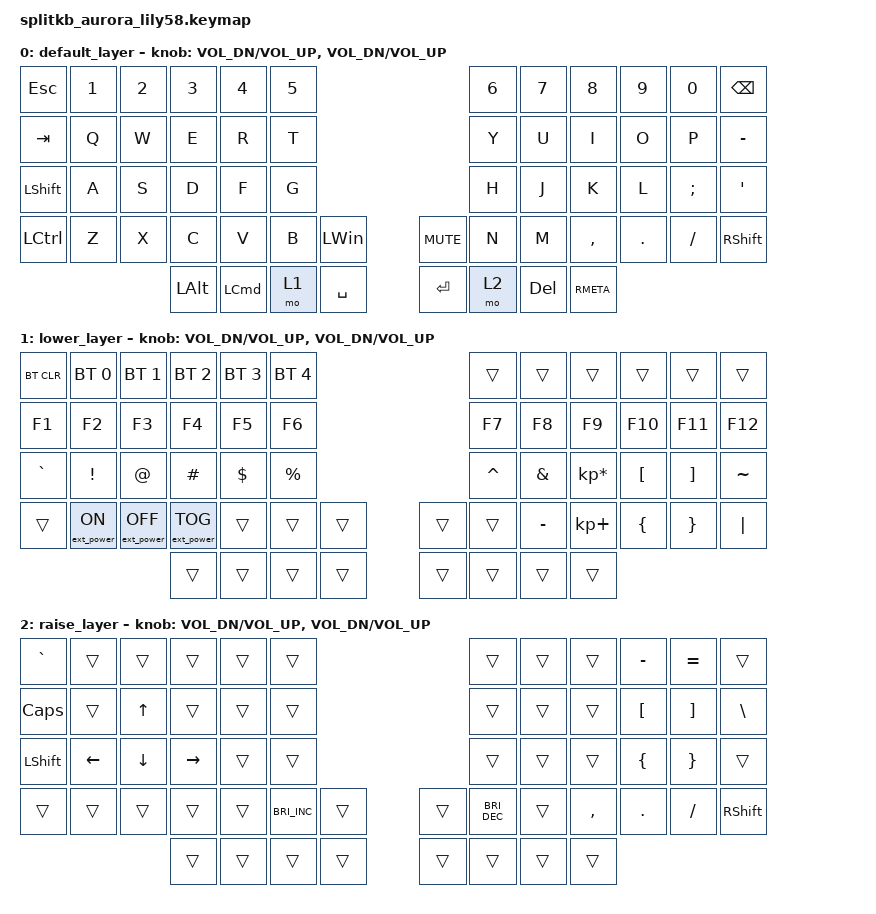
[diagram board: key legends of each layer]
/*
 * Copyright (c) 2020 The ZMK Contributors
 *
 * SPDX-License-Identifier: MIT
 */

#include <behaviors.dtsi>
#include <dt-bindings/zmk/bt.h>
#include <dt-bindings/zmk/ext_power.h>
#include <dt-bindings/zmk/keys.h>

&pinctrl {
    spi0_default: spi0_default {
        group1 {
            psels = <NRF_PSEL(SPIM_SCK, 1, 2)>,
                <NRF_PSEL(SPIM_MOSI, 1, 7)>,
                <NRF_PSEL(SPIM_MISO, 0, 19)>; /* GPIO0 19 is not broken on a nice!nano.*/
        };
    };
    spi0_sleep: spi0_sleep {
        group1 {
            psels = <NRF_PSEL(SPIM_SCK, 1, 2)>,
                <NRF_PSEL(SPIM_MOSI, 1, 7)>,
                <NRF_PSEL(SPIM_MISO, 0, 19)>; /* GPIO0 19 is not broken on a nice!nano.*/
            low-power-enable;
        };
    };
};

&nice_view_spi {
  cs-gpios = <&pro_micro 0 GPIO_ACTIVE_HIGH>;
};

nice_view_spi: &spi0 {
    compatible = "nordic,nrf-spim";
    pinctrl-0 = <&spi0_default>;
    pinctrl-1 = <&spi0_sleep>;
    pinctrl-names = "default", "sleep";
    cs-gpios = <&gpio1 1 GPIO_ACTIVE_HIGH>;
};

/ {
    keymap {
        compatible = "zmk,keymap";

        default_layer {
            bindings = <
  &kp ESC  &kp N1  &kp N2    &kp N3            &kp N4  &kp N5                            &kp N6      &kp N7     &kp N8   &kp N9    &kp N0   &kp BSPC
  &kp TAB   &kp Q   &kp W     &kp E             &kp R   &kp T                             &kp Y       &kp U      &kp I    &kp O     &kp P  &kp MINUS
&kp LSHFT   &kp A   &kp S     &kp D             &kp F   &kp G                             &kp H       &kp J      &kp K    &kp L  &kp SEMI    &kp SQT
&kp LCTRL   &kp Z   &kp X     &kp C             &kp V   &kp B  &kp LEFT_WIN  &kp C_MUTE   &kp N       &kp M  &kp COMMA  &kp DOT  &kp FSLH  &kp RSHFT
                           &kp LALT  &kp LEFT_COMMAND   &mo 1     &kp SPACE     &kp RET   &mo 2  &kp DELETE  &kp RMETA
            >;

            sensor-bindings = <&inc_dec_kp C_VOL_DN C_VOL_UP &inc_dec_kp C_VOL_DN C_VOL_UP>;



        };

        lower_layer {
            bindings = <
&bt BT_CLR      &bt BT_SEL 0       &bt BT_SEL 1       &bt BT_SEL 2  &bt BT_SEL 3  &bt BT_SEL 4                     &trans     &trans           &trans            &trans             &trans     &trans
    &kp F1            &kp F2             &kp F3             &kp F4        &kp F5        &kp F6                     &kp F7     &kp F8           &kp F9           &kp F10            &kp F11    &kp F12
 &kp GRAVE          &kp EXCL             &kp AT           &kp HASH    &kp DOLLAR     &kp PRCNT                  &kp CARET   &kp AMPS  &kp KP_MULTIPLY  &kp LEFT_BRACKET  &kp RIGHT_BRACKET  &kp TILDE
    &trans  &ext_power EP_ON  &ext_power EP_OFF  &ext_power EP_TOG        &trans        &trans  &trans  &trans     &trans  &kp MINUS      &kp KP_PLUS          &kp LBRC           &kp RBRC   &kp PIPE
                                                            &trans        &trans        &trans  &trans  &trans     &trans     &trans           &trans
            >;

            sensor-bindings = <&inc_dec_kp C_VOL_DN C_VOL_UP &inc_dec_kp C_VOL_DN C_VOL_UP>;
        };

        raise_layer {
            bindings = <
   &kp GRAVE    &trans    &trans     &trans  &trans                &trans                                &trans  &trans     &trans       &kp MINUS        &kp EQUAL           &trans
&kp CAPSLOCK    &trans    &kp UP     &trans  &trans                &trans                                &trans  &trans     &trans        &kp LBKT         &kp RBKT    &kp BACKSLASH
  &kp LSHIFT  &kp LEFT  &kp DOWN  &kp RIGHT  &trans                &trans                                &trans  &trans     &trans  &kp LEFT_BRACE  &kp RIGHT_BRACE           &trans
      &trans    &trans    &trans     &trans  &trans  &kp C_BRIGHTNESS_INC  &trans  &trans  &kp C_BRIGHTNESS_DEC  &trans  &kp COMMA      &kp PERIOD        &kp SLASH  &kp RIGHT_SHIFT
                                     &trans  &trans                &trans  &trans  &trans                &trans  &trans     &trans
            >;

            sensor-bindings = <&inc_dec_kp C_VOL_DN C_VOL_UP &inc_dec_kp C_VOL_DN C_VOL_UP>;
        };
    };
};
